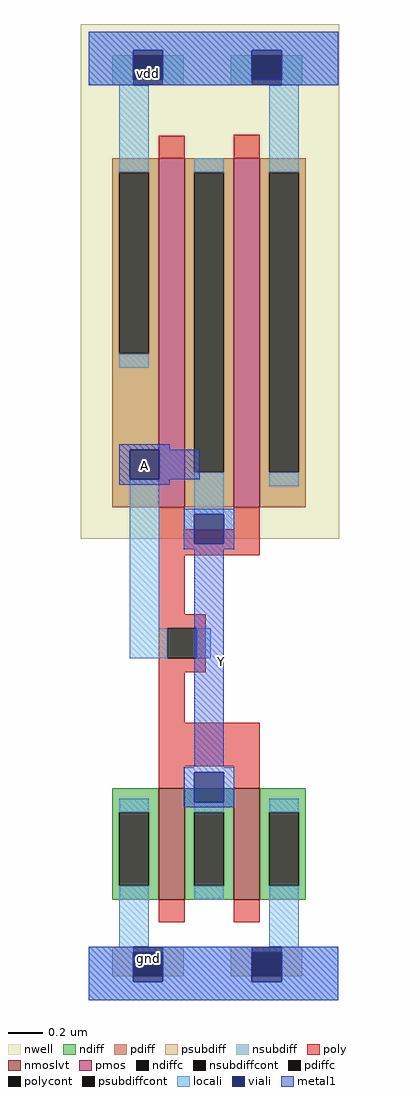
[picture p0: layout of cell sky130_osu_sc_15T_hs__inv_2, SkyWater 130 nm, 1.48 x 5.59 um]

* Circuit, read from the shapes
.subckt sky130_osu_sc_15T_hs__inv_2 Y A
XM1 Y A gnd gnd sky130_fd_pr__nfet_01v8_lvt w=0.64 l=0.15 m=2
XM2 Y A vdd vdd sky130_fd_pr__pfet_01v8 w=2 l=0.15 m=2
.ends

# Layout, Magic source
magic
tech sky130A
magscale 1 2
<< nwell >>
rect -9 529 287 1119
<< nmoslvt >>
rect 80 115 110 243
rect 166 115 196 243
<< pmos >>
rect 80 565 110 965
rect 166 565 196 965
<< ndiff >>
rect 27 215 80 243
rect 27 131 35 215
rect 69 131 80 215
rect 27 115 80 131
rect 110 215 166 243
rect 110 131 121 215
rect 155 131 166 215
rect 110 115 166 131
rect 196 215 249 243
rect 196 131 207 215
rect 241 131 249 215
rect 196 115 249 131
<< pdiff >>
rect 27 949 80 965
rect 27 741 35 949
rect 69 741 80 949
rect 27 565 80 741
rect 110 949 166 965
rect 110 605 121 949
rect 155 605 166 949
rect 110 565 166 605
rect 196 949 249 965
rect 196 605 207 949
rect 241 605 249 949
rect 196 565 249 605
<< ndiffc >>
rect 35 131 69 215
rect 121 131 155 215
rect 207 131 241 215
<< pdiffc >>
rect 35 741 69 949
rect 121 605 155 949
rect 207 605 241 949
<< psubdiff >>
rect 27 27 51 61
rect 85 27 109 61
rect 163 27 187 61
rect 221 27 245 61
<< nsubdiff >>
rect 27 1049 51 1083
rect 85 1049 109 1083
rect 163 1049 187 1083
rect 221 1049 245 1083
<< psubdiffcont >>
rect 51 27 85 61
rect 187 27 221 61
<< nsubdiffcont >>
rect 51 1049 85 1083
rect 187 1049 221 1083
<< poly >>
rect 80 965 110 991
rect 166 965 196 992
rect 80 540 110 565
rect 166 540 196 565
rect 80 510 196 540
rect 80 442 110 510
rect 80 426 134 442
rect 80 392 90 426
rect 124 392 134 426
rect 80 376 134 392
rect 80 318 110 376
rect 80 268 196 318
rect 80 243 110 268
rect 166 243 196 268
rect 80 89 110 115
rect 166 89 196 115
<< polycont >>
rect 90 392 124 426
<< locali >>
rect 0 1089 286 1110
rect 0 1049 51 1089
rect 85 1049 187 1089
rect 221 1049 286 1089
rect 35 949 69 1049
rect 35 725 69 741
rect 121 949 155 965
rect 47 426 81 597
rect 121 557 155 605
rect 207 949 241 1049
rect 207 589 241 605
rect 47 392 90 426
rect 124 392 140 426
rect 35 215 69 231
rect 35 61 69 131
rect 121 215 155 227
rect 121 115 155 131
rect 207 215 241 231
rect 207 61 241 131
rect 0 21 51 61
rect 85 21 187 61
rect 221 21 286 61
rect 0 0 286 21
<< viali >>
rect 51 1083 85 1089
rect 51 1055 85 1083
rect 187 1083 221 1089
rect 187 1055 221 1083
rect 47 597 81 631
rect 121 523 155 557
rect 121 227 155 261
rect 51 27 85 55
rect 51 21 85 27
rect 187 27 221 55
rect 187 21 221 27
<< metal1 >>
rect 0 1089 286 1110
rect 0 1055 51 1089
rect 85 1055 187 1089
rect 221 1055 286 1089
rect 0 1049 286 1055
rect 35 631 93 637
rect 35 597 47 631
rect 81 597 127 631
rect 35 591 93 597
rect 109 557 167 563
rect 109 523 121 557
rect 155 523 167 557
rect 109 517 167 523
rect 121 267 155 517
rect 109 261 167 267
rect 109 227 121 261
rect 155 227 167 261
rect 109 221 167 227
rect 0 55 286 61
rect 0 21 51 55
rect 85 21 187 55
rect 221 21 286 55
rect 0 0 286 21
<< labels >>
rlabel metal1 152 388 152 388 1 Y
port 1 n
rlabel viali 64 613 64 613 1 A
port 2 n
rlabel viali 68 48 68 48 1 gnd
rlabel viali 68 1062 68 1062 1 vdd
<< end >>
